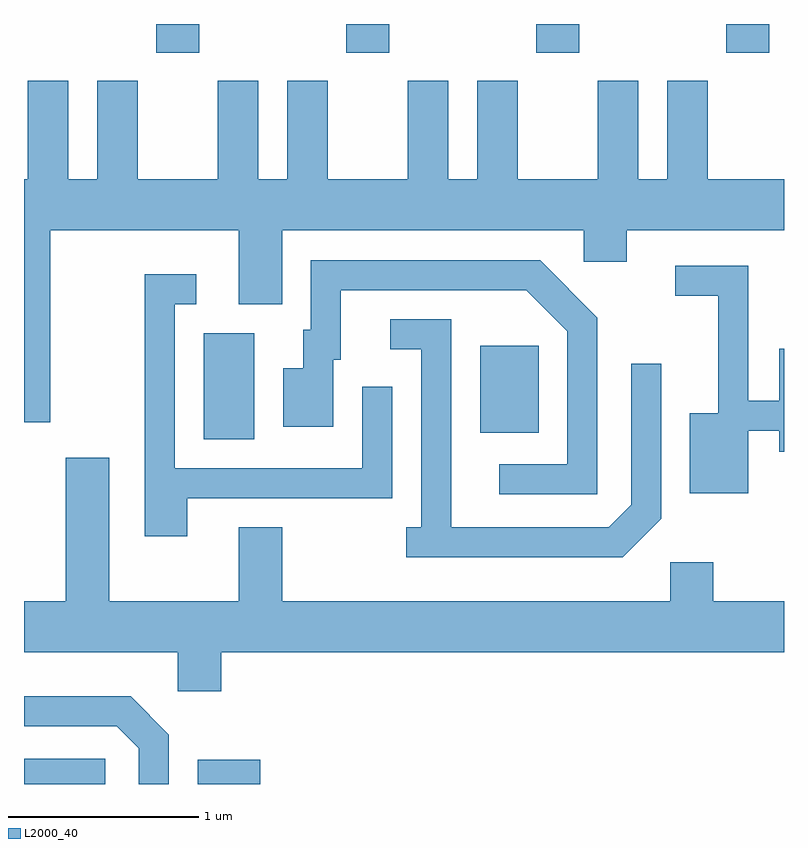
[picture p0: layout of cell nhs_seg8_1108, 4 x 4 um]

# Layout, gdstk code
import gdstk
lib = gdstk.Library(unit=1e-6, precision=1e-09)
def R(c, l, rs):  # rectangles x0, y0, x1, y1
    for r in rs: c.add(gdstk.rectangle(r[:2], r[2:], *l))
def A(c, l, x, y, w, h, nx, ny, dx, dy):  # array of equal rectangles
    R(c, l, [(x+i*dx, y+j*dy, x+i*dx+w, y+j*dy+h) for i in range(nx) for j in range(ny)])
def P(c, l, *ps):  # polygons
    for p in ps: c.add(gdstk.Polygon(p, *l))
L2000_40 = (2000, 40)

nhs_seg8_1108 = lib.new_cell('nhs_seg8_1108')
A(nhs_seg8_1108, L2000_40, 218.306, 1886.191, 0.228, 0.151, 4, 1, 1, 0)
R(nhs_seg8_1108, L2000_40, [(217.611,1882.342,218.039,1882.474), (218.526,1882.342,218.854,1882.469), (218.556,1884.156,218.824,1884.714), (220.011,1884.191,220.319,1884.649)])
P(nhs_seg8_1108, L2000_40, [(217.749,1885.256),(218.741,1885.256),(218.741,1884.866),(218.969,1884.866),(218.969,1885.256),(220.556,1885.256),(220.556,1885.091),(220.784,1885.091),(220.784,1885.256),(221.611,1885.256),(221.611,1885.524),(221.209,1885.524),(221.209,1886.044),(220.996,1886.044),(220.996,1885.524),(220.844,1885.524),(220.844,1886.044),(220.631,1886.044),(220.631,1885.524),(220.209,1885.524),(220.209,1886.044),(219.996,1886.044),(219.996,1885.524),(219.844,1885.524),(219.844,1886.044),(219.631,1886.044),(219.631,1885.524),(219.209,1885.524),(219.209,1886.044),(218.996,1886.044),(218.996,1885.524),(218.844,1885.524),(218.844,1886.044),(218.631,1886.044),(218.631,1885.524),(218.209,1885.524),(218.209,1886.044),(217.996,1886.044),(217.996,1885.524),(217.844,1885.524),(217.844,1886.044),(217.631,1886.044),(217.631,1885.524),(217.611,1885.524),(217.611,1884.246),(217.749,1884.246)],
  [(220.629,1884.797),(220.327,1885.099),(219.121,1885.099),(219.121,1884.734),(219.081,1884.734),(219.081,1884.529),(218.976,1884.529),(218.976,1884.221),(219.239,1884.221),(219.239,1884.576),(219.279,1884.576),(219.279,1884.941),(220.254,1884.941),(220.471,1884.724),(220.471,1884.024),(220.113,1884.024),(220.113,1883.866),(220.629,1883.866)],
  [(221.424,1884.201),(221.586,1884.201),(221.586,1884.091),(221.611,1884.091),(221.611,1884.634),(221.586,1884.634),(221.586,1884.359),(221.424,1884.359),(221.424,1885.069),(221.038,1885.069),(221.038,1884.911),(221.266,1884.911),(221.266,1884.294),(221.116,1884.294),(221.116,1883.871),(221.424,1883.871)],
  [(218.469,1883.846),(219.549,1883.846),(219.549,1884.433),(219.391,1884.433),(219.391,1884.004),(218.404,1884.004),(218.404,1884.866),(218.518,1884.866),(218.518,1885.024),(218.246,1885.024),(218.246,1883.646),(218.469,1883.646)],
  [(220.964,1883.739),(220.964,1884.553),(220.806,1884.553),(220.806,1883.812),(220.689,1883.694),(219.859,1883.694),(219.859,1884.789),(219.538,1884.789),(219.538,1884.631),(219.701,1884.631),(219.701,1883.694),(219.623,1883.694),(219.623,1883.536),(220.762,1883.536)],
  [(218.649,1883.036),(221.611,1883.036),(221.611,1883.304),(221.239,1883.304),(221.239,1883.509),(221.011,1883.509),(221.011,1883.304),(218.969,1883.304),(218.969,1883.694),(218.741,1883.694),(218.741,1883.304),(218.059,1883.304),(218.059,1884.059),(217.831,1884.059),(217.831,1883.304),(217.611,1883.304),(217.611,1883.036),(218.421,1883.036),(218.421,1882.831),(218.649,1882.831)],
  [(218.374,1882.602),(218.172,1882.804),(217.611,1882.804),(217.611,1882.646),(218.099,1882.646),(218.216,1882.529),(218.216,1882.342),(218.374,1882.342)])

lib.write_gds('nhs_seg8_1108.gds')
